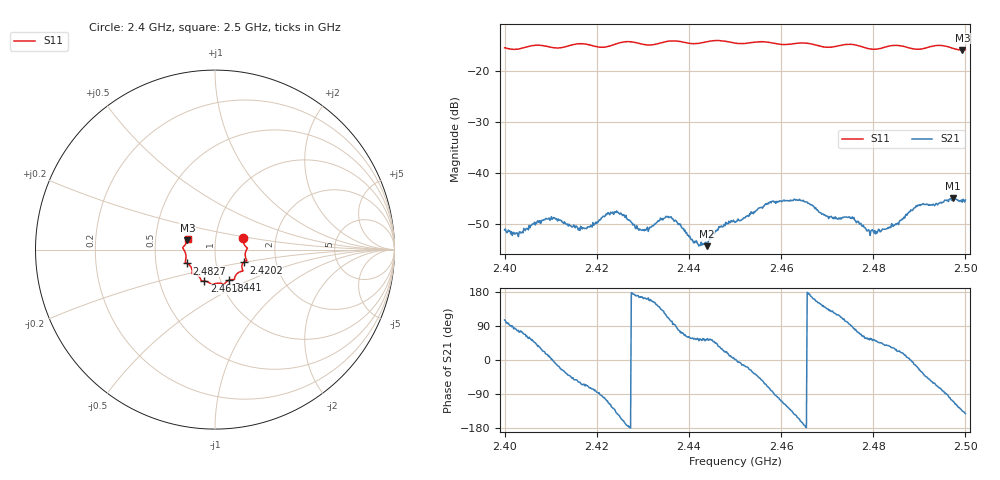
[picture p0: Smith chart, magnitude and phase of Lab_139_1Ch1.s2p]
# Hz S RI R 50
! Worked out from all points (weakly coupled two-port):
!   601 points, 2.4 GHz to 2.5 GHz, reference 50 ohm
!   highest |S21| = -44.95 dB at 2.4973 GHz (marker M1); lowest = -54.4 dB at 2.4438 GHz (marker M2)
!   lowest |S11| = -15.8 dB at 2.4993 GHz (marker M3), VSWR 1.39, Z = 36.5 + j3.82 ohm
!   |S11| at or under -10 dB: start of sweep to end of sweep
!   S12 and S22 are empty: the file has one direction only
!   S11 on the Smith chart (normalised r, x): 2.4 GHz: 1.36, +0.18; 2.4202 GHz: 1.36, -0.20; 2.441 GHz: 1.10, -0.39; 2.4618 GHz: 0.84, -0.30; 2.4827 GHz: 0.72, -0.11; 2.5 GHz: 0.73, +0.09
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2.4e9  0.1586 0.0628  -0.000741 0.00264  0 0  0 0
2.4035e9  0.166 0.024  0.000578 0.00249  0 0  0 0
2.4105e9  0.1709 -0.0111  0.00356 -0.000113  0 0  0 0
2.416667e9  0.1772 -0.0607  0.00127 -0.00262  0 0  0 0
2.420167e9  0.1589 -0.0714  0.000255 -0.00328  0 0  0 0
2.424333e9  0.1521 -0.1093  -0.00322 -0.00273  0 0  0 0
2.429333e9  0.1429 -0.1221  -0.00271 0.000704  0 0  0 0
2.433333e9  0.1117 -0.1507  -0.00264 0.00213  0 0  0 0
2.436e9  0.1091 -0.1669  -0.000888 0.00358  0 0  0 0
2.441e9  0.0787 -0.1698  0.00117 0.00168  0 0  0 0
2.443833e9  0.0562 -0.1871  0.00112 0.00153  0 0  0 0
2.45e9  0.0287 -0.1875  0.00325 7.76e-05  0 0  0 0
2.461833e9  -0.059 -0.1755  -0.00336 -0.00407  0 0  0 0
2.466667e9  -0.0788 -0.1684  -0.00471 0.00116  0 0  0 0
2.475333e9  -0.1276 -0.133  5.2e-05 0.00355  0 0  0 0
2.479e9  -0.1298 -0.1055  0.00156 0.00228  0 0  0 0
2.482667e9  -0.1557 -0.0771  0.00218 0.00174  0 0  0 0
2.483333e9  -0.1603 -0.0751  0.00224 0.00176  0 0  0 0
2.489833e9  -0.163 -0.0263  0.00442 -0.00177  0 0  0 0
2.497333e9  -0.1664 0.0266  -0.00187 -0.00534  0 0  0 0
2.499333e9  -0.1542 0.051  -0.00359 -0.00368  0 0  0 0
2.5e9  -0.1523 0.0604  -0.00425 -0.00337  0 0  0 0
